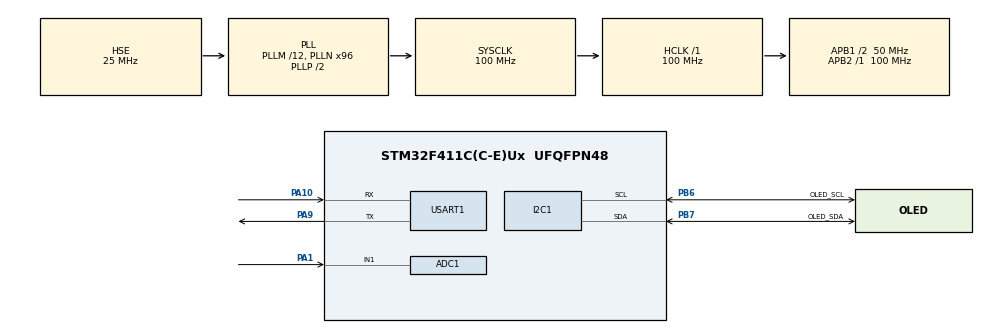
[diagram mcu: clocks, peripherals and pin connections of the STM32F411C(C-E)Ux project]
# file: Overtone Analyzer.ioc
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ADC1.Channel-0\#ChannelRegularConversion=ADC_CHANNEL_1
ADC1.ContinuousConvMode=DISABLE
ADC1.DMAContinuousRequests=ENABLE
ADC1.ExternalTrigConv=ADC_EXTERNALTRIGCONV_T3_TRGO
ADC1.NbrOfConversionFlag=1
ADC1.Rank-0\#ChannelRegularConversion=1
ADC1.SamplingTime-0\#ChannelRegularConversion=ADC_SAMPLETIME_15CYCLES
ADC1.master=1
Dma.ADC1.0.Direction=DMA_PERIPH_TO_MEMORY
Dma.ADC1.0.FIFOMode=DMA_FIFOMODE_DISABLE
Dma.ADC1.0.Instance=DMA2_Stream0
Dma.ADC1.0.MemDataAlignment=DMA_MDATAALIGN_HALFWORD
Dma.ADC1.0.MemInc=DMA_MINC_ENABLE
Dma.ADC1.0.Mode=DMA_CIRCULAR
Dma.ADC1.0.PeriphDataAlignment=DMA_PDATAALIGN_HALFWORD
Dma.ADC1.0.PeriphInc=DMA_PINC_DISABLE
Dma.ADC1.0.Priority=DMA_PRIORITY_HIGH
Dma.Request0=ADC1
FREERTOS.BinarySemaphores01=do_fft,Dynamic,NULL,Depleted
FREERTOS.Mutexes01=printMutex,Dynamic,NULL,Available
FREERTOS.Tasks01=processADC,24,2500,StartProcessADC,Default,NULL,Dynamic,NULL,NULL;StatsTask,8,250,StartStatsTask,Default,NULL,Dynamic,NULL,NULL;VisualizeTask,11,128,StartVisualizeTask,Default,NULL,Dynamic,NULL,NULL
FREERTOS.configGENERATE_RUN_TIME_STATS=1
FREERTOS.configUSE_NEWLIB_REENTRANT=1
FREERTOS.configUSE_STATS_FORMATTING_FUNCTIONS=1
I2C1.I2C_Mode=I2C_Fast
Mcu.Family=STM32F4
Mcu.Name=STM32F411C(C-E)Ux
Mcu.Package=UFQFPN48
NVIC.DMA2_Stream0_IRQn=true\:5\:0\:false\:false\:true\:true\:false\:true\:true
NVIC.PriorityGroup=NVIC_PRIORITYGROUP_4
NVIC.TIM1_UP_TIM10_IRQn=true\:15\:0\:false\:false\:true\:false\:false\:true\:true
NVIC.TIM4_IRQn=true\:5\:0\:false\:false\:true\:true\:true\:true\:true
NVIC.TimeBase=TIM1_UP_TIM10_IRQn
NVIC.TimeBaseIP=TIM1
PA1.Signal=ADCx_IN1
PA10.Mode=Asynchronous
PA10.Signal=USART1_RX
PA13.Mode=Trace_Asynchronous_SW
PA13.Signal=SYS_JTMS-SWDIO
PA14.Mode=Trace_Asynchronous_SW
PA14.Signal=SYS_JTCK-SWCLK
PA9.Mode=Asynchronous
PA9.Signal=USART1_TX
PB3.Mode=Trace_Asynchronous_SW
PB3.Signal=SYS_JTDO-SWO
PB6.GPIO_Label=OLED_SCL
PB6.GPIO_Pu=GPIO_PULLUP
PB6.Mode=I2C
PB6.Signal=I2C1_SCL
PB7.GPIO_Label=OLED_SDA
PB7.GPIO_Pu=GPIO_PULLUP
PB7.Mode=I2C
PB7.Signal=I2C1_SDA
PH0\ -\ OSC_IN.Mode=HSE-External-Oscillator
PH0\ -\ OSC_IN.Signal=RCC_OSC_IN
PH1\ -\ OSC_OUT.Mode=HSE-External-Oscillator
PH1\ -\ OSC_OUT.Signal=RCC_OSC_OUT
ProjectManager.HeapSize=0x200
ProjectManager.StackSize=0x400
ProjectManager.TargetToolchain=STM32CubeIDE
RCC.48MHZClocksFreq_Value=50000000
RCC.AHBFreq_Value=100000000
RCC.APB1CLKDivider=RCC_HCLK_DIV2
RCC.APB1Freq_Value=50000000
RCC.APB1TimFreq_Value=100000000
RCC.APB2Freq_Value=100000000
RCC.APB2TimFreq_Value=100000000
RCC.CortexFreq_Value=100000000
RCC.HCLKFreq_Value=100000000
RCC.HSE_VALUE=25000000
RCC.HSI_VALUE=16000000
RCC.LSE_VALUE=32768
RCC.PLLM=12
RCC.PLLN=96
RCC.PLLSourceVirtual=RCC_PLLSOURCE_HSE
RCC.SYSCLKFreq_VALUE=100000000
RCC.SYSCLKSource=RCC_SYSCLKSOURCE_PLLCLK
RCC.VCOOutputFreq_Value=200000000
SH.ADCx_IN1.0=ADC1_IN1,IN1
TIM3.Period=2083 - 1
TIM3.Prescaler=0
TIM3.TIM_MasterOutputTrigger=TIM_TRGO_UPDATE
TIM4.Period=1000 - 1
TIM4.Prescaler=0
USART1.VirtualMode=VM_ASYNC
VP_FREERTOS_VS_CMSIS_V2.Mode=CMSIS_V2
VP_SYS_VS_tim1.Mode=TIM1
VP_TIM3_VS_ClockSourceINT.Mode=Internal
VP_TIM4_VS_ClockSourceINT.Mode=Internal
board=custom

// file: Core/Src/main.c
/* USER CODE BEGIN Header */
/**
  ******************************************************************************
  * @file           : main.c
  * @brief          : Main program body
  ******************************************************************************
  * @attention
  *
  * Copyright (c) 2026 STMicroelectronics.
  * All rights reserved.
  *
  * This software is licensed under terms that can be found in the LICENSE file
  * in the root directory of this software component.
  * If no LICENSE file comes with this software, it is provided AS-IS.
  *
  ******************************************************************************
  */
/* USER CODE END Header */
#include "main.h"
#include "cmsis_os.h"

/* USER CODE BEGIN Includes */
#include "arm_math.h"
#include <stdio.h>
#include "ssd1306.h"

/* USER CODE END Includes */

/* USER CODE BEGIN PD */
#define BUFFER_SIZE 4096
#define SAMPLE_RATE 48031 // Calculated from TIM 3 frequency
#define FREQUENCIES_TO_GATHER 100 // The number of frequencies (peaks) to measure as candidates for fundamental frequencies and harmonics. Priority is chosen by FFT magnitude
#define MINIMUM_FUNDAMENTAL_FREQUENCY 40 // The lowest frequency in HZ to consider as a fundamental frequency
#define MAXIMUM_FUNDAMENTAL_FREQUENCY 5000 // The highest frequency in HZ to consider as a fundamental frequency
#define MINIMUM_HARMONICS_FUNDAMENTAL 0 // The lowest number of harmonics to have detected to be considered a fundamental frequency
#define HARMONIC_FACTOR_INTEGER_ERROR 0.02f // The max amount of error for a factor to have off from an integer for a frequency to be considered a harmonic of a fundamental
#define MAX_HARMONIC_GROUP_FACTOR_INTEGER 15 // The maximum factor for a harmonic to be considered a part of a fundamental. Similar to maximum distance
#define FUNDAMENTAL_VOLUME_THRESHOLD_RATIO 0.22f // To be considered a fundamental frequency, it must be at least X * loudest magnitude
#define HARMONIC_VOLUME_THRESHOLD_RATIO 0.03f // To be considered a harmonic, it must be at least X * fundamental magnitude
#define EXPERIMENTAL_FLAG_CHECK_FOR_QUIET_FUNDAMENTAL 1 // If set, harmonic check will look for frequencies below the fundamental candidate to identify a different, quiet fundamental that was missed. Useful for instruments with brighter profiles where fundamentals are registered incorrectly
/* USER CODE END PD */

ADC_HandleTypeDef hadc1;
DMA_HandleTypeDef hdma_adc1;

I2C_HandleTypeDef hi2c1;

TIM_HandleTypeDef htim3;
TIM_HandleTypeDef htim4;

UART_HandleTypeDef huart1;

/* Definitions for processADC */
osThreadId_t processADCHandle;
const osThreadAttr_t processADC_attributes = {
  .name = "processADC",
  .stack_size = 2500 * 4,
  .priority = (osPriority_t) osPriorityNormal,
};
/* Definitions for StatsTask */
osThreadId_t StatsTaskHandle;
const osThreadAttr_t StatsTask_attributes = {
  .name = "StatsTask",
  .stack_size = 250 * 4,
  .priority = (osPriority_t) osPriorityLow,
};
/* Definitions for VisualizeTask */
osThreadId_t VisualizeTaskHandle;
const osThreadAttr_t VisualizeTask_attributes = {
  .name = "VisualizeTask",
  .stack_size = 128 * 4,
  .priority = (osPriority_t) osPriorityLow3,
};
/* Definitions for printMutex */
osMutexId_t printMutexHandle;
const osMutexAttr_t printMutex_attributes = {
  .name = "printMutex"
};
/* Definitions for do_fft */
osSemaphoreId_t do_fftHandle;
const osSemaphoreAttr_t do_fft_attributes = {
  .name = "do_fft"
};
/* USER CODE BEGIN PV */

volatile unsigned long ulHighFrequencyTimerTicks;

/* USER CODE END PV */

void SystemClock_Config(void);
static void MX_GPIO_Init(void);
static void MX_DMA_Init(void);
static void MX_ADC1_Init(void);
static void MX_USART1_UART_Init(void);
static void MX_TIM3_Init(void);
static void MX_TIM4_Init(void);
static void MX_I2C1_Init(void);
void StartProcessADC(void *argument);
void StartStatsTask(void *argument);
void StartVisualizeTask(void *argument);

/* USER CODE BEGIN 0 */
// Redirect printf through UART
int _write(int fd, char* ptr, int len) {
	HAL_StatusTypeDef hstatus;

	if (fd == 1 || fd == 2) {
	  hstatus = HAL_UART_Transmit(&huart1, (uint8_t *) ptr, len, HAL_MAX_DELAY);
	  if (hstatus == HAL_OK)
		return len;
	  else
		return -1;
	}
	return -1;
}

// Oled handle for displaying info from display task
ssd1306_handle_t oled_handle;
// OLED BUFFER TEST!

// ADC with DMA. Giving semaphore for FFT processing
uint16_t fft_in_index = 0;
uint16_t adc_buffer[BUFFER_SIZE] = {};

void HAL_ADC_ConvHalfCpltCallback(ADC_HandleTypeDef *hadc) {
	if (hadc->Instance == ADC1) {
		// DMA writing to second half, process the first half.
		fft_in_index = 0;
		osSemaphoreRelease(do_fftHandle);
	}
}

void HAL_ADC_ConvCpltCallback(ADC_HandleTypeDef *hadc) {
	if (hadc->Instance == ADC1) {
		// DMA writing to first half, process the second half.
		fft_in_index = BUFFER_SIZE / 2;
		osSemaphoreRelease(do_fftHandle);
	}
}

float fft_in[BUFFER_SIZE];
float fft_out[BUFFER_SIZE];
float fft_mag[BUFFER_SIZE / 2];
float hann_window[BUFFER_SIZE];
arm_rfft_fast_instance_f32 fft_Handle;

void Setup_Hann_Window(float *window, int size){
	for (int i = 0; i < size; i ++){
		window[i] = 0.5f * (1.0f - arm_cos_f32((2.0f * PI * i) / (size - 1)));
	}
}

float get_frequency(uint32_t this_bin) {
	// Use parabolic interpolation with natural log to estimate actual frequency across nearest bins
	// Check to make sure there is actually initialized data
	float frequency_hz = this_bin * SAMPLE_RATE / (BUFFER_SIZE);
	if (this_bin > 0 && this_bin < BUFFER_SIZE / 2 - 1) {
		// Avoid log 0 errors
		if (fft_mag[this_bin-1] > 0 && fft_mag[this_bin] > 0 && fft_mag[this_bin+1] > 0) {
			float alpha = logf(fft_mag[this_bin - 1]);
			float beta = logf(fft_mag[this_bin]);
			float gamma = logf(fft_mag[this_bin + 1]);
			float actual_bin = this_bin;

			// Formula for two immediate neighbors
			float denominator = alpha - 2.0f * beta + gamma;
			if (denominator != 0) { // XV COME BACK: Floats dont have to be 0 to cause problems
				actual_bin = this_bin + (0.5f * ((alpha - gamma) / denominator));
			}

			frequency_hz = actual_bin * SAMPLE_RATE / (BUFFER_SIZE);
		}
	}
	return frequency_hz;
}

float get_amplitude(uint32_t this_bin) {
	// Use parabolic interpolation with natural log to estimate actual magnitude across nearest bins
	// Check to make sure there is actually initialized data
	float amplitude = fft_mag[this_bin];
	if (this_bin > 0 && this_bin < BUFFER_SIZE / 2 - 1) {
		// Avoid log 0 errors
		if (fft_mag[this_bin - 1] > 0 && fft_mag[this_bin] > 0 && fft_mag[this_bin + 1] > 0) {
			float alpha = logf(fft_mag[this_bin - 1]);
			float beta = logf(fft_mag[this_bin]);
			float gamma = logf(fft_mag[this_bin + 1]);

			// Formula for two immediate neighbors
			float denominator = alpha - 2.0f * beta + gamma;
			if (denominator != 0) { // XV COME BACK: Floats dont have to be 0 to cause problems
				// Calculate vertex height
				float peak_log = beta - 0.125f * ((alpha - gamma) * (alpha - gamma) / denominator);
				// Reverse the logarithm
				amplitude = expf(peak_log);
			}
		}
	}
	return amplitude;
}

float get_relative_volume_db(float fundamental_amplitude, float reference_amplitude) {
	float ratio = fundamental_amplitude / reference_amplitude;
	return 20.0f * log10f(ratio);
}

void Process_Half_Buffer() {
    osMutexWait(printMutexHandle, osWaitForever);
	// Convert the ADC samples to float
	for (int i = 0; i < BUFFER_SIZE / 2; i ++) {
		uint16_t actual_index = fft_in_index + i;
		fft_in[actual_index] = ((float) adc_buffer[actual_index]);
	}

	if (fft_in_index == BUFFER_SIZE / 2) {
		// DC bias correction
		float mean = 0.0f;
		arm_mean_f32(fft_in, BUFFER_SIZE, &mean);

		for (int i = 0; i < BUFFER_SIZE; i ++) {
			fft_in[i] -= mean;

			// Use Hann window to fade edges of fft_in to zero, avoiding spectral leakage
			fft_in[i] *= hann_window[i];
		}

		// Just filled fft_in
		// Run the FFT on the fft_in buffer, generate output in fft_out buffer
		arm_rfft_fast_f32(&fft_Handle, fft_in, fft_out, 0);

		// Compute magnitudes of real and complex parts for each bucket
		arm_cmplx_mag_f32(fft_out, fft_mag, BUFFER_SIZE / 2);

		// Gather top frequencies
		float max_vals[FREQUENCIES_TO_GATHER] = {0};
		uint32_t fund_bin[FREQUENCIES_TO_GATHER] = {0};

		// Explicitly ignore the edge-most bins. This helps with maxima finding, and future parabolic interpolation
		for (int i = 1; i < BUFFER_SIZE / 2 - 1; i ++) {
			float this_val = fft_mag[i];
			// Check if it belongs in the max vals list

			// Check if it is a local maxima
			if (this_val > fft_mag[i - 1] && this_val > fft_mag[i + 1]) {
				// Find a place, shift right the smaller values.
				// Left most index is highest peak
				for (int j = 0; j < FREQUENCIES_TO_GATHER; j ++) {
					if (this_val > max_vals[j]) {
						// Move everything right one
						for (int k = FREQUENCIES_TO_GATHER - 2; k >= j; k --) {
							max_vals[k + 1] = max_vals[k];
							fund_bin[k + 1] = fund_bin[k];
						}
						// Put at this index
						max_vals[j] = this_val;
						fund_bin[j] = i;
						break;
					}
				}
			}
		}

		float gathered_frequencies[FREQUENCIES_TO_GATHER] = {0}; // Calculate frequencies
		for (int i = 0; i < FREQUENCIES_TO_GATHER; i++) {
			uint32_t this_bin = fund_bin[i];

			gathered_frequencies[i] = get_frequency(this_bin);
		}

		// Store most prominent peak for determining loudest magnitude before sorted by frequency
		// XV: What happens when fund_bin is 0 (there were no peaks found?)
		float max_magnitude_found = get_amplitude(fund_bin[0]);

		// Sort the gathered frequencies from low to high. Insertion sort
		for (int i = 1; i < FREQUENCIES_TO_GATHER; i ++) {
			int j = i;
			float this_frequency = gathered_frequencies[j];
			while (j > 0 && this_frequency < gathered_frequencies[j - 1]) {
				// Swap frequencies in j and j - 1
				gathered_frequencies[j] = gathered_frequencies[j - 1];
				gathered_frequencies[j - 1] = this_frequency;

				// Swap magnitudes in j and j - 1
				float temp_magnitude = max_vals[j];
				max_vals[j] = max_vals[j - 1];
				max_vals[j - 1] = temp_magnitude;

				// Swap bins of j and j - 1
				uint32_t temp_bin = fund_bin[j];
				fund_bin[j] = fund_bin[j-1];
				fund_bin[j-1] = temp_bin;

				// Decrement j to go down list finding proper spot for this_frequency
				j -= 1;
			}
			// j is the new index this should be at
		}

		//printf("----------------------------------------------------\r\n");

		// Go through each frequency, group by fundamentals and harmonics and noise
		uint8_t harmonics[FREQUENCIES_TO_GATHER] = {0}; // Grouped by fundamental frequency. 1 = family of frequency 1, 2 = family of frequency 2
		uint8_t harmonic_group_on = 1;
		uint8_t max_harmonic_group = 0;
		for (int i = 0; i < FREQUENCIES_TO_GATHER; i ++) {
			if (harmonics[i] != 0) continue; // Already part of another group
			float this_frequency = gathered_frequencies[i];
			float this_frequency_amplitude = get_amplitude(fund_bin[i]);

			if (this_frequency < MINIMUM_FUNDAMENTAL_FREQUENCY || this_frequency > MAXIMUM_FUNDAMENTAL_FREQUENCY) continue; // Noise (too low HZ)
			if (this_frequency_amplitude < max_magnitude_found * FUNDAMENTAL_VOLUME_THRESHOLD_RATIO) continue; // Noise (too quiet for fundamental)

			harmonics[i] = harmonic_group_on;

			// Go through all remaining frequencies, detect harmonics, count them
			int harmonic_amount = 0;
			int j = i + 1;
			uint8_t new_fundamental_found = 0;

			if (EXPERIMENTAL_FLAG_CHECK_FOR_QUIET_FUNDAMENTAL) j = 0;

			for (; j < FREQUENCIES_TO_GATHER; j ++) {
				if (harmonics[j] != 0) continue; // Frequency already belonged to a harmonic group
				if (get_amplitude(fund_bin[j]) < this_frequency_amplitude * HARMONIC_VOLUME_THRESHOLD_RATIO) continue; // too quiet to be a harmonic for this fundamental

				float checking_frequency = gathered_frequencies[j];
				if (EXPERIMENTAL_FLAG_CHECK_FOR_QUIET_FUNDAMENTAL && checking_frequency < MINIMUM_FUNDAMENTAL_FREQUENCY) continue; // Too low for reconsideration as a fundamental frequency

				float factor = checking_frequency / this_frequency; // Factor for harmonics above current fundamental
				if (EXPERIMENTAL_FLAG_CHECK_FOR_QUIET_FUNDAMENTAL && j < i && new_fundamental_found == 0) factor = this_frequency / checking_frequency;

				// CHECK IF FACTOR IS INTEGER
				float nearest = roundf(factor);
				if (fabsf(nearest - factor) <= HARMONIC_FACTOR_INTEGER_ERROR && nearest >= 2 && nearest <= MAX_HARMONIC_GROUP_FACTOR_INTEGER) { // Consider checking volume for "likely a harmonic, not noise
					// Part of the harmonic group
					harmonic_amount += 1;
					harmonics[j] = harmonic_group_on;
					// Check if this is a new fundamental (if experiemntal quiet fundamental is set). Then update the fundamental frequency we are checking harmonics with
					if (EXPERIMENTAL_FLAG_CHECK_FOR_QUIET_FUNDAMENTAL && j < i && new_fundamental_found == 0) {
						// A new, lower, quiet fundamental has been found. Use this for the rest of the harmonic calculations
						this_frequency = checking_frequency;
						this_frequency_amplitude = get_amplitude(fund_bin[j]);
						new_fundamental_found = 1;
					}
				}
			}

			if (harmonic_amount < MINIMUM_HARMONICS_FUNDAMENTAL) {
				// Minimum harmonic requirement not met, this frequency is likely noise. write a 0 in calculated harmonics
				for (int k = 0; k < FREQUENCIES_TO_GATHER; k++) {
					if (harmonics[k] == harmonic_group_on) {
						harmonics[k] = 0;
					}
				}
			}
			else {
				max_harmonic_group = harmonic_group_on;
				harmonic_group_on += 1;
			}
		}

		// XV CHECK LATER: Maybe do something different when EXPERIMENTAL_FLAG_CHECK_FOR_QUIET_FUNDAMENTAL is set. Or else super quiet fundamentals will be all the way at bottom, even with a very powerful harmonic
		// Sort the groups by volume (loudest fundamentals in front)
		uint8_t sorted_groups[FREQUENCIES_TO_GATHER] = {0};
		float group_volumes[FREQUENCIES_TO_GATHER] = {0};
		// Initialize arrays to sort by volume
		for (int i = 0; i < max_harmonic_group; i ++) {
			sorted_groups[i] = i + 1;
			// get group volume
			for (int j = 0; j < FREQUENCIES_TO_GATHER; j ++) {
				if (harmonics[j] == i + 1) {
					group_volumes[i] = get_amplitude(fund_bin[j]);
					break;
				}
			}
		}

		// Begin sorting, insertion sort
		for (int i = 1; i < max_harmonic_group; i ++) {
			int j = i;
			float this_volume = group_volumes[j];
			while (j > 0 && this_volume > group_volumes[j - 1]) {
				// Swap volumes in j and j - 1
				group_volumes[j] = group_volumes[j - 1];
				group_volumes[j - 1] = this_volume;

				// Swap groups in j and j - 1
				uint8_t this_group = sorted_groups[j];
				sorted_groups[j] = sorted_groups[j - 1];
				sorted_groups[j - 1] = this_group;

				// Decrement j to go down list finding proper spot for this group
				j -= 1;
			}
		}

		// Print out data / compute relative DB for fundamentals compared to loudest fundamental, and harmonics relative to their fundamental

		float loudest_fundamental_volume = 0;
		uint8_t loudest_fundamental_found = 0;
		for (int i = 0; i < max_harmonic_group; i ++) {
			uint8_t group = sorted_groups[i];
			uint8_t fundamental_found = 0;
			float fundamental_volume = group_volumes[i];
			for (int j = 0; j < FREQUENCIES_TO_GATHER; j ++) {
				if (harmonics[j] == group) {
					// PART OF HARMONIC GROUP
					if (fundamental_found == 0) {
						if (loudest_fundamental_found == 0) {
							loudest_fundamental_found = 1;
							loudest_fundamental_volume = fundamental_volume;
						}
						fundamental_found = 1;
						//printf("%dhz (%ddb): ", (int) gathered_frequencies[j], (int) get_relative_volume_db(fundamental_volume,loudest_fundamental_volume));
					}
					else {
						//printf("%dhz (%ddb), ", (int) gathered_frequencies[j], (int) get_relative_volume_db(get_amplitude(fund_bin[j]), fundamental_volume));
					}
				}
			}
			//printf("\r\n");
		}
	}
    osMutexRelease(printMutexHandle);
}

// Timer 4 freeRTOS runtime statistics
void configureTimerForRunTimeStats(void) {
	ulHighFrequencyTimerTicks = 0;
	HAL_TIM_Base_Start_IT(&htim4);
}

unsigned long getRunTimeCounterValue(void) {
	return ulHighFrequencyTimerTicks;
}

/* USER CODE END 0 */

int main(void)
{

  /* MCU Configuration--------------------------------------------------------*/

  /* Reset of all peripherals, Initializes the Flash interface and the Systick. */
  HAL_Init();

  /* Configure the system clock */
  SystemClock_Config();

  /* Initialize all configured peripherals */
  MX_GPIO_Init();
  MX_DMA_Init();
  MX_ADC1_Init();
  MX_USART1_UART_Init();
  MX_TIM3_Init();
  MX_TIM4_Init();
  MX_I2C1_Init();
  /* USER CODE BEGIN 2 */

  printf("\r\nWorking!\r\n");

  // Setup the Hann window to be used with FFT processing
  Setup_Hann_Window(&hann_window[0], BUFFER_SIZE);

  // Setup FFT handle
  arm_rfft_fast_init_f32(&fft_Handle, BUFFER_SIZE);

  // Start timer 3 to trigger ADC conversion
  HAL_TIM_Base_Start(&htim3);

  // Start DMA transfer with ADC
  HAL_ADC_Start_DMA(&hadc1, (uint32_t*)adc_buffer, BUFFER_SIZE);

  printf("All setup.\r\n");

  /* USER CODE END 2 */

  /* Init scheduler */
  osKernelInitialize();
  /* Create the mutex(es) */
  /* creation of printMutex */
  printMutexHandle = osMutexNew(&printMutex_attributes);

  /* Create the semaphores(s) */
  /* creation of do_fft */
  do_fftHandle = osSemaphoreNew(1, 0, &do_fft_attributes);

  /* Create the thread(s) */
  /* creation of processADC */
  processADCHandle = osThreadNew(StartProcessADC, NULL, &processADC_attributes);

  /* creation of StatsTask */
  StatsTaskHandle = osThreadNew(StartStatsTask, NULL, &StatsTask_attributes);

  /* creation of VisualizeTask */
  VisualizeTaskHandle = osThreadNew(StartVisualizeTask, NULL, &VisualizeTask_attributes);

  /* Start scheduler */
  osKernelStart();

  /* We should never get here as control is now taken by the scheduler */

  /* Infinite loop */
  while (1)
  {

  }
}

void SystemClock_Config(void)
{
  RCC_OscInitTypeDef RCC_OscInitStruct = {0};
  RCC_ClkInitTypeDef RCC_ClkInitStruct = {0};

  /** Configure the main internal regulator output voltage
  */
  __HAL_RCC_PWR_CLK_ENABLE();
  __HAL_PWR_VOLTAGESCALING_CONFIG(PWR_REGULATOR_VOLTAGE_SCALE1);

  /** Initializes the RCC Oscillators according to the specified parameters
  * in the RCC_OscInitTypeDef structure.
  */
  RCC_OscInitStruct.OscillatorType = RCC_OSCILLATORTYPE_HSE;
  RCC_OscInitStruct.HSEState = RCC_HSE_ON;
  RCC_OscInitStruct.PLL.PLLState = RCC_PLL_ON;
  RCC_OscInitStruct.PLL.PLLSource = RCC_PLLSOURCE_HSE;
  RCC_OscInitStruct.PLL.PLLM = 12;
  RCC_OscInitStruct.PLL.PLLN = 96;
  RCC_OscInitStruct.PLL.PLLP = RCC_PLLP_DIV2;
  RCC_OscInitStruct.PLL.PLLQ = 4;
  if (HAL_RCC_OscConfig(&RCC_OscInitStruct) != HAL_OK)
  {
    Error_Handler();
  }

  /** Initializes the CPU, AHB and APB buses clocks
  */
  RCC_ClkInitStruct.ClockType = RCC_CLOCKTYPE_HCLK|RCC_CLOCKTYPE_SYSCLK
                              |RCC_CLOCKTYPE_PCLK1|RCC_CLOCKTYPE_PCLK2;
  RCC_ClkInitStruct.SYSCLKSource = RCC_SYSCLKSOURCE_PLLCLK;
  RCC_ClkInitStruct.AHBCLKDivider = RCC_SYSCLK_DIV1;
  RCC_ClkInitStruct.APB1CLKDivider = RCC_HCLK_DIV2;
  RCC_ClkInitStruct.APB2CLKDivider = RCC_HCLK_DIV1;

  if (HAL_RCC_ClockConfig(&RCC_ClkInitStruct, FLASH_LATENCY_3) != HAL_OK)
  {
    Error_Handler();
  }
}

static void MX_ADC1_Init(void)
{

  ADC_ChannelConfTypeDef sConfig = {0};

  /** Configure the global features of the ADC (Clock, Resolution, Data Alignment and number of conversion)
  */
  hadc1.Instance = ADC1;
  hadc1.Init.ClockPrescaler = ADC_CLOCK_SYNC_PCLK_DIV4;
  hadc1.Init.Resolution = ADC_RESOLUTION_12B;
  hadc1.Init.ScanConvMode = DISABLE;
  hadc1.Init.ContinuousConvMode = DISABLE;
  hadc1.Init.DiscontinuousConvMode = DISABLE;
  hadc1.Init.ExternalTrigConvEdge = ADC_EXTERNALTRIGCONVEDGE_RISING;
  hadc1.Init.ExternalTrigConv = ADC_EXTERNALTRIGCONV_T3_TRGO;
  hadc1.Init.DataAlign = ADC_DATAALIGN_RIGHT;
  hadc1.Init.NbrOfConversion = 1;
  hadc1.Init.DMAContinuousRequests = ENABLE;
  hadc1.Init.EOCSelection = ADC_EOC_SINGLE_CONV;
  if (HAL_ADC_Init(&hadc1) != HAL_OK)
  {
    Error_Handler();
  }

  /** Configure for the selected ADC regular channel its corresponding rank in the sequencer and its sample time.
  */
  sConfig.Channel = ADC_CHANNEL_1;
  sConfig.Rank = 1;
  sConfig.SamplingTime = ADC_SAMPLETIME_15CYCLES;
  if (HAL_ADC_ConfigChannel(&hadc1, &sConfig) != HAL_OK)
  {
    Error_Handler();
  }

}

static void MX_I2C1_Init(void)
{

  hi2c1.Instance = I2C1;
  hi2c1.Init.ClockSpeed = 400000;
  hi2c1.Init.DutyCycle = I2C_DUTYCYCLE_2;
  hi2c1.Init.OwnAddress1 = 0;
  hi2c1.Init.AddressingMode = I2C_ADDRESSINGMODE_7BIT;
  hi2c1.Init.DualAddressMode = I2C_DUALADDRESS_DISABLE;
  hi2c1.Init.OwnAddress2 = 0;
  hi2c1.Init.GeneralCallMode = I2C_GENERALCALL_DISABLE;
  hi2c1.Init.NoStretchMode = I2C_NOSTRETCH_DISABLE;
  if (HAL_I2C_Init(&hi2c1) != HAL_OK)
  {
    Error_Handler();
  }

}

static void MX_TIM3_Init(void)
{

  TIM_ClockConfigTypeDef sClockSourceConfig = {0};
  TIM_MasterConfigTypeDef sMasterConfig = {0};

  htim3.Instance = TIM3;
  htim3.Init.Prescaler = 0;
  htim3.Init.CounterMode = TIM_COUNTERMODE_UP;
  htim3.Init.Period = 2083 - 1;
  htim3.Init.ClockDivision = TIM_CLOCKDIVISION_DIV1;
  htim3.Init.AutoReloadPreload = TIM_AUTORELOAD_PRELOAD_DISABLE;
  if (HAL_TIM_Base_Init(&htim3) != HAL_OK)
  {
    Error_Handler();
  }
  sClockSourceConfig.ClockSource = TIM_CLOCKSOURCE_INTERNAL;
  if (HAL_TIM_ConfigClockSource(&htim3, &sClockSourceConfig) != HAL_OK)
  {
    Error_Handler();
  }
  sMasterConfig.MasterOutputTrigger = TIM_TRGO_UPDATE;
  sMasterConfig.MasterSlaveMode = TIM_MASTERSLAVEMODE_DISABLE;
  if (HAL_TIMEx_MasterConfigSynchronization(&htim3, &sMasterConfig) != HAL_OK)
  {
    Error_Handler();
  }

}

static void MX_TIM4_Init(void)
{

  TIM_ClockConfigTypeDef sClockSourceConfig = {0};
  TIM_MasterConfigTypeDef sMasterConfig = {0};

  htim4.Instance = TIM4;
  htim4.Init.Prescaler = 0;
  htim4.Init.CounterMode = TIM_COUNTERMODE_UP;
  htim4.Init.Period = 1000 - 1;
  htim4.Init.ClockDivision = TIM_CLOCKDIVISION_DIV1;
  htim4.Init.AutoReloadPreload = TIM_AUTORELOAD_PRELOAD_DISABLE;
  if (HAL_TIM_Base_Init(&htim4) != HAL_OK)
  {
    Error_Handler();
  }
  sClockSourceConfig.ClockSource = TIM_CLOCKSOURCE_INTERNAL;
  if (HAL_TIM_ConfigClockSource(&htim4, &sClockSourceConfig) != HAL_OK)
  {
    Error_Handler();
  }
  sMasterConfig.MasterOutputTrigger = TIM_TRGO_RESET;
  sMasterConfig.MasterSlaveMode = TIM_MASTERSLAVEMODE_DISABLE;
  if (HAL_TIMEx_MasterConfigSynchronization(&htim4, &sMasterConfig) != HAL_OK)
  {
    Error_Handler();
  }

}

static void MX_USART1_UART_Init(void)
{

  huart1.Instance = USART1;
  huart1.Init.BaudRate = 115200;
  huart1.Init.WordLength = UART_WORDLENGTH_8B;
  huart1.Init.StopBits = UART_STOPBITS_1;
  huart1.Init.Parity = UART_PARITY_NONE;
  huart1.Init.Mode = UART_MODE_TX_RX;
  huart1.Init.HwFlowCtl = UART_HWCONTROL_NONE;
  huart1.Init.OverSampling = UART_OVERSAMPLING_16;
  if (HAL_UART_Init(&huart1) != HAL_OK)
  {
    Error_Handler();
  }

}

static void MX_DMA_Init(void)
{

  /* DMA controller clock enable */
  __HAL_RCC_DMA2_CLK_ENABLE();

  /* DMA interrupt init */
  /* DMA2_Stream0_IRQn interrupt configuration */
  HAL_NVIC_SetPriority(DMA2_Stream0_IRQn, 5, 0);
  HAL_NVIC_EnableIRQ(DMA2_Stream0_IRQn);

}

static void MX_GPIO_Init(void)
{

  /* GPIO Ports Clock Enable */
  __HAL_RCC_GPIOH_CLK_ENABLE();
  __HAL_RCC_GPIOA_CLK_ENABLE();
  __HAL_RCC_GPIOB_CLK_ENABLE();

}

void StartProcessADC(void *argument)
{
  /* USER CODE BEGIN 5 */
  /* Infinite loop */
  for(;;)
  {
    // Acquire semaphore and process correct half of circular ADC buffer
	osSemaphoreAcquire(do_fftHandle, osWaitForever);
	// Perform FFT on this half

	Process_Half_Buffer();

  }
  /* USER CODE END 5 */
}

void StartStatsTask(void *argument)
{
  /* USER CODE BEGIN StartStatsTask */
	    TaskStatus_t *pxTaskStatusArray;
	    volatile UBaseType_t uxArraySize, x;
	    unsigned long ulTotalRunTime;
	    float runtime_percentage;

	    /* Infinite loop */
	    for (;;) {
			// XV: Every 10 seconffds
	        osDelay(10000);

			// XV: Get number of tasks
	        uxArraySize = uxTaskGetNumberOfTasks();
		    // XV: Allocate memory for statistics
	        pxTaskStatusArray = pvPortMalloc(uxArraySize * sizeof(TaskStatus_t)); // a little bit scary!

			// XV: Wait for printing mutex (only one task can print at a time)
	        osMutexWait(printMutexHandle, osWaitForever);

	        if (pxTaskStatusArray != NULL) {

	            uxArraySize = uxTaskGetSystemState(pxTaskStatusArray, uxArraySize,
	                    &ulTotalRunTime);

	            printf("Task count = %lu\r\n", uxArraySize);
	            printf("No       Name          P  S   Usage     Count     HW\r\n");

	            for (x = 0; x < uxArraySize; x++) {

	                runtime_percentage = (float) (100
	                        * (float) pxTaskStatusArray[x].ulRunTimeCounter
	                        / (float) ulTotalRunTime);
					// XV: Print the statistics!
	                printf("Task %2lu: %-12s %2lu %2d %8.4f (%8lu) %4i\r\n",
	                        x,
	                        pxTaskStatusArray[x].pcTaskName,
	                        pxTaskStatusArray[x].uxCurrentPriority,
	                        pxTaskStatusArray[x].eCurrentState,
	                        runtime_percentage,
	                        pxTaskStatusArray[x].ulRunTimeCounter,
	                        pxTaskStatusArray[x].usStackHighWaterMark);

	            }

	            vPortFree(pxTaskStatusArray);

	        } else {
	            printf("Unable to allocate stack space\r\n");
	        }

	        osMutexRelease(printMutexHandle);

	    }

  /* USER CODE END StartStatsTask */
}

void StartVisualizeTask(void *argument)
{
  /* USER CODE BEGIN StartVisualizeTask */

	ssd1306_result_t status = SSD1306_OK;
	status = ssd1306_init(&oled_handle, &hi2c1, OLED_SDA_GPIO_Port, OLED_SDA_Pin);
	status = ssd1306_ram_based_mode(&oled_handle);
  /* Infinite loop */
  for(;;)
  {
	  osDelay(100);
	  status = ssd1306_generate_buffer(&oled_handle, fft_in, 4096/2 - 500, 500, SSD1306_BucketsAverage, 2000);
  }
  /* USER CODE END StartVisualizeTask */
}

void HAL_TIM_PeriodElapsedCallback(TIM_HandleTypeDef *htim)
{
  if (htim->Instance == TIM1)
  {
    HAL_IncTick();
  }
}

void Error_Handler(void)
{
  __disable_irq();
  while (1)
  {
  }
}
